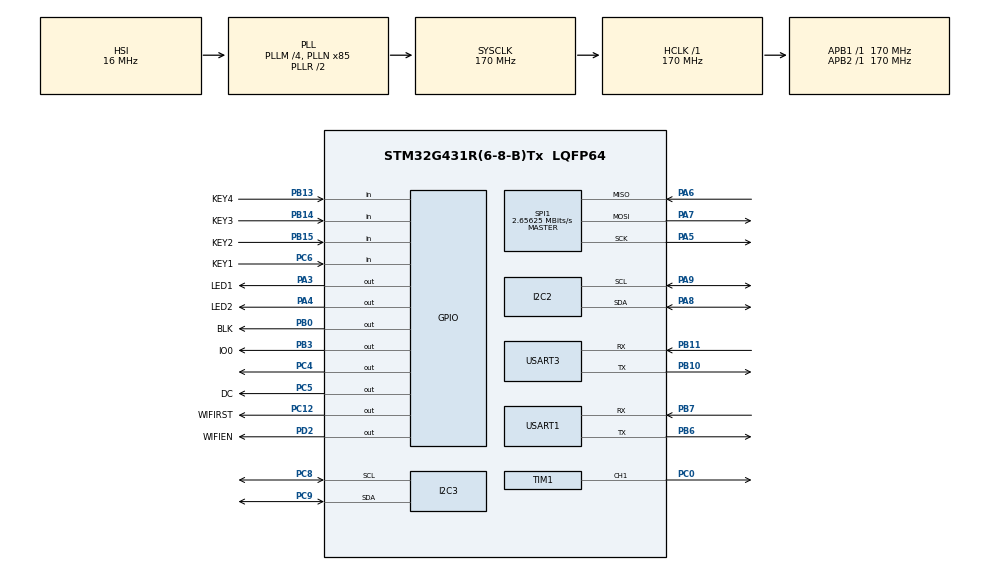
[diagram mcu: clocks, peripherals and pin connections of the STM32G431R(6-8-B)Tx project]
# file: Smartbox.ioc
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FREERTOS.Tasks01=defaultTask,24,128,StartDefaultTask,Default,NULL,Dynamic,NULL,NULL
I2C2.Timing=0x40B285C2
I2C3.Timing=0x40B285C2
Mcu.Family=STM32G4
Mcu.Name=STM32G431R(6-8-B)Tx
Mcu.Package=LQFP64
NVIC.PriorityGroup=NVIC_PRIORITYGROUP_4
NVIC.USART3_IRQn=true\:5\:0\:false\:false\:true\:true\:true\:true\:true
PA13.Mode=Serial_Wire
PA13.Signal=SYS_JTMS-SWDIO
PA14.Mode=Serial_Wire
PA14.Signal=SYS_JTCK-SWCLK
PA3.GPIO_Label=LED1
PA3.Signal=GPIO_Output
PA4.GPIO_Label=LED2
PA4.Signal=GPIO_Output
PA5.Mode=Full_Duplex_Master
PA5.Signal=SPI1_SCK
PA6.Mode=Full_Duplex_Master
PA6.Signal=SPI1_MISO
PA7.Mode=Full_Duplex_Master
PA7.Signal=SPI1_MOSI
PA8.GPIO_Pu=GPIO_PULLUP
PA8.Mode=I2C
PA8.Signal=I2C2_SDA
PA9.GPIO_Pu=GPIO_PULLUP
PA9.Mode=I2C
PA9.Signal=I2C2_SCL
PB0.GPIO_Label=BLK
PB0.Signal=GPIO_Output
PB10.Mode=Asynchronous
PB10.Signal=USART3_TX
PB11.Mode=Asynchronous
PB11.Signal=USART3_RX
PB13.GPIO_Label=KEY4
PB13.Signal=GPIO_Input
PB14.GPIO_Label=KEY3
PB14.Signal=GPIO_Input
PB15.GPIO_Label=KEY2
PB15.Signal=GPIO_Input
PB3.GPIO_Label=IO0
PB3.Signal=GPIO_Output
PB6.Mode=Asynchronous
PB6.Signal=USART1_TX
PB7.Mode=Asynchronous
PB7.Signal=USART1_RX
PC0.Signal=S_TIM1_CH1
PC12.GPIO_Label=WIFIRST
PC12.Signal=GPIO_Output
PC4.Signal=GPIO_Output
PC5.GPIO_Label=DC
PC5.Signal=GPIO_Output
PC6.GPIO_Label=KEY1
PC6.Signal=GPIO_Input
PC8.GPIO_Pu=GPIO_PULLUP
PC8.Mode=I2C
PC8.Signal=I2C3_SCL
PC9.GPIO_Pu=GPIO_PULLUP
PC9.Mode=I2C
PC9.Signal=I2C3_SDA
PD2.GPIO_Label=WIFIEN
PD2.Signal=GPIO_Output
PF0-OSC_IN.Mode=HSE-External-Oscillator
PF0-OSC_IN.Signal=RCC_OSC_IN
PF1-OSC_OUT.Mode=HSE-External-Oscillator
PF1-OSC_OUT.Signal=RCC_OSC_OUT
ProjectManager.HeapSize=0x200
ProjectManager.StackSize=0x400
ProjectManager.TargetToolchain=MDK-ARM V5.32
RCC.ADC12Freq_Value=170000000
RCC.AHBFreq_Value=170000000
RCC.APB1Freq_Value=170000000
RCC.APB1TimFreq_Value=170000000
RCC.APB2Freq_Value=170000000
RCC.APB2TimFreq_Value=170000000
RCC.CortexFreq_Value=170000000
RCC.EXTERNAL_CLOCK_VALUE=12288000
RCC.HCLKFreq_Value=170000000
RCC.HSE_VALUE=8000000
RCC.HSI48_VALUE=48000000
RCC.HSI_VALUE=16000000
RCC.LSE_VALUE=32768
RCC.PLLM=RCC_PLLM_DIV4
RCC.PLLN=85
RCC.SYSCLKFreq_VALUE=170000000
RCC.SYSCLKSource=RCC_SYSCLKSOURCE_PLLCLK
RCC.USBFreq_Value=170000000
RCC.VCOOutputFreq_Value=340000000
SH.S_TIM1_CH1.0=TIM1_CH1,PWM Generation1 CH1
SPI1.BaudRatePrescaler=SPI_BAUDRATEPRESCALER_64
SPI1.CalculateBaudRate=2.65625 MBits/s
SPI1.DataSize=SPI_DATASIZE_8BIT
SPI1.Direction=SPI_DIRECTION_2LINES
SPI1.Mode=SPI_MODE_MASTER
SPI1.VirtualType=VM_MASTER
TIM1.Channel-PWM\ Generation1\ CH1=TIM_CHANNEL_1
TIM1.PeriodNoDither=99
TIM1.Prescaler=169
TIM1.PulseNoDither_1=49
USART1.VirtualMode-Asynchronous=VM_ASYNC
USART3.VirtualMode-Asynchronous=VM_ASYNC
VP_FREERTOS_VS_CMSIS_V2.Mode=CMSIS_V2
VP_RTC_VS_RTC_Activate.Mode=RTC_Enabled
VP_RTC_VS_RTC_Calendar.Mode=RTC_Calendar
VP_SYS_VS_DBSignals.Mode=DisableDeadBatterySignals
VP_TIM1_VS_ClockSourceINT.Mode=Internal
board=custom

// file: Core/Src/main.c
/* USER CODE BEGIN Header */
/**
  ******************************************************************************
  * @file           : main.c
  * @brief          : Main program body
  ******************************************************************************
  * @attention
  *
  * Copyright (c) 2025 STMicroelectronics.
  * All rights reserved.
  *
  * This software is licensed under terms that can be found in the LICENSE file
  * in the root directory of this software component.
  * If no LICENSE file comes with this software, it is provided AS-IS.
  *
  ******************************************************************************
  */
/* USER CODE END Header */
#include "main.h"
#include "cmsis_os.h"
#include "i2c.h"
#include "rtc.h"
#include "spi.h"
#include "tim.h"
#include "usart.h"
#include "gpio.h"

/* USER CODE BEGIN Includes */
#include "mpu6050.h"
#include "aht20.h"
#include "bmp280.h"
#include "sensor_manager.h"
#include "esp8266.h"
#include "app_tasks.h"
/* USER CODE END Includes */

/* USER CODE BEGIN PV */
uint8_t g_esp_rx_byte = 0;
volatile uint32_t g_uart3_last_rx_tick = 0;
volatile uint32_t g_uart3_error_count = 0;
volatile uint32_t g_uart3_last_error_code = 0;

/* USER CODE END PV */

void SystemClock_Config(void);
void MX_FREERTOS_Init(void);

/* USER CODE BEGIN 0 */
static void UART3_StartReceiveIT(void)
{
  /* ESP8266使用单字节接收中断，错误回调里也会重入该函数以自恢复。 */
  (void)HAL_UART_Receive_IT(&huart3, &g_esp_rx_byte, 1);
}

/* USER CODE END 0 */

int main(void)
{

  /* MCU Configuration--------------------------------------------------------*/

  /* Reset of all peripherals, Initializes the Flash interface and the Systick. */
  HAL_Init();

  /* Configure the system clock */
  SystemClock_Config();

  /* Initialize all configured peripherals */
  MX_GPIO_Init();
  MX_RTC_Init();
  MX_SPI1_Init();
  MX_I2C2_Init();
  MX_USART1_UART_Init();
  MX_USART3_UART_Init();
  MX_I2C3_Init();
  MX_TIM1_Init();
  /* Init scheduler */
  osKernelInitialize();

  /* USER CODE BEGIN 2 */
  // 启动USART3接收中断
  UART3_StartReceiveIT();

  // 初始化应用（依赖CMSIS-RTOS对象，必须在osKernelInitialize之后）
  App_Init();
  /* USER CODE END 2 */

  /* Call init function for freertos objects (in cmsis_os2.c) */
  // 注释掉自动生成的初始化
  // MX_FREERTOS_Init();

  // 启动自定义任务
  App_StartTasks();

  /* Start scheduler */
  osKernelStart();

  /* We should never get here as control is now taken by the scheduler */

  /* Infinite loop */
  while (1)
  {

  }
}

void SystemClock_Config(void)
{
  RCC_OscInitTypeDef RCC_OscInitStruct = {0};
  RCC_ClkInitTypeDef RCC_ClkInitStruct = {0};

  /** Configure the main internal regulator output voltage
  */
  HAL_PWREx_ControlVoltageScaling(PWR_REGULATOR_VOLTAGE_SCALE1_BOOST);

  /** Initializes the RCC Oscillators according to the specified parameters
  * in the RCC_OscInitTypeDef structure.
  */
  RCC_OscInitStruct.OscillatorType = RCC_OSCILLATORTYPE_HSI|RCC_OSCILLATORTYPE_LSI;
  RCC_OscInitStruct.HSIState = RCC_HSI_ON;
  RCC_OscInitStruct.HSICalibrationValue = RCC_HSICALIBRATION_DEFAULT;
  RCC_OscInitStruct.LSIState = RCC_LSI_ON;
  RCC_OscInitStruct.PLL.PLLState = RCC_PLL_ON;
  RCC_OscInitStruct.PLL.PLLSource = RCC_PLLSOURCE_HSI;
  RCC_OscInitStruct.PLL.PLLM = RCC_PLLM_DIV4;
  RCC_OscInitStruct.PLL.PLLN = 85;
  RCC_OscInitStruct.PLL.PLLP = RCC_PLLP_DIV2;
  RCC_OscInitStruct.PLL.PLLQ = RCC_PLLQ_DIV2;
  RCC_OscInitStruct.PLL.PLLR = RCC_PLLR_DIV2;
  if (HAL_RCC_OscConfig(&RCC_OscInitStruct) != HAL_OK)
  {
    Error_Handler();
  }

  /** Initializes the CPU, AHB and APB buses clocks
  */
  RCC_ClkInitStruct.ClockType = RCC_CLOCKTYPE_HCLK|RCC_CLOCKTYPE_SYSCLK
                              |RCC_CLOCKTYPE_PCLK1|RCC_CLOCKTYPE_PCLK2;
  RCC_ClkInitStruct.SYSCLKSource = RCC_SYSCLKSOURCE_PLLCLK;
  RCC_ClkInitStruct.AHBCLKDivider = RCC_SYSCLK_DIV1;
  RCC_ClkInitStruct.APB1CLKDivider = RCC_HCLK_DIV1;
  RCC_ClkInitStruct.APB2CLKDivider = RCC_HCLK_DIV1;

  if (HAL_RCC_ClockConfig(&RCC_ClkInitStruct, FLASH_LATENCY_4) != HAL_OK)
  {
    Error_Handler();
  }
}

/* USER CODE BEGIN 4 */
void HAL_UART_RxCpltCallback(UART_HandleTypeDef *huart)
{
    if (huart->Instance == USART3)
    {
        g_uart3_last_rx_tick = HAL_GetTick();
        // 使用HAL回调写入的字节，避免重复读RDR导致数据错乱
        ESP8266_UART_RxCallback(g_esp_rx_byte);

        // 重新启动接收
        UART3_StartReceiveIT();
    }
}

void HAL_UART_ErrorCallback(UART_HandleTypeDef *huart)
{
    if (huart->Instance == USART3)
    {
        /* ESP启动日志(74880)或噪声可能触发FE/NE/ORE，清标志后立即重启接收。 */
        g_uart3_error_count++;
        g_uart3_last_error_code = huart->ErrorCode;
        __HAL_UART_CLEAR_OREFLAG(huart);
        __HAL_UART_CLEAR_FEFLAG(huart);
        __HAL_UART_CLEAR_NEFLAG(huart);
        __HAL_UART_CLEAR_PEFLAG(huart);
        UART3_StartReceiveIT();
    }
}
/* USER CODE END 4 */

void Error_Handler(void)
{
  __disable_irq();
  while (1)
  {
  }
}
